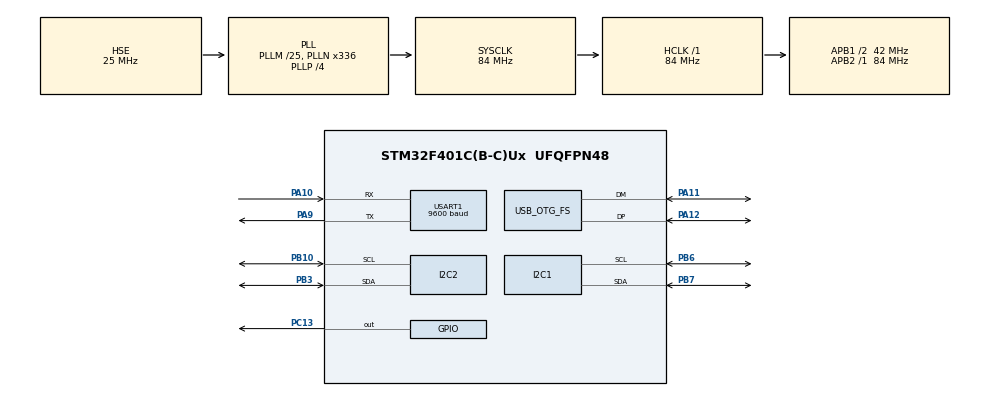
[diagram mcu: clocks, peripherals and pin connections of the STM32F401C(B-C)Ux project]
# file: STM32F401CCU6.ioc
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FREERTOS.Mutexes01=myMutex01,Dynamic,NULL
FREERTOS.Queues01=myQueue01,16,uint32_t,0,Dynamic,NULL,NULL
FREERTOS.Tasks01=defaultTask,0,128,StartDefaultTask,Default,NULL,Dynamic,NULL,NULL
FREERTOS.configUSE_NEWLIB_REENTRANT=1
Mcu.Family=STM32F4
Mcu.Name=STM32F401C(B-C)Ux
Mcu.Package=UFQFPN48
NVIC.I2C1_ER_IRQn=true\:5\:0\:false\:false\:true\:true\:true\:true\:true
NVIC.I2C1_EV_IRQn=true\:5\:0\:false\:false\:true\:true\:true\:true\:true
NVIC.OTG_FS_IRQn=true\:5\:0\:false\:false\:true\:true\:false\:true\:true
NVIC.PriorityGroup=NVIC_PRIORITYGROUP_4
NVIC.TIM5_IRQn=true\:15\:0\:false\:false\:true\:false\:false\:true\:true
NVIC.TimeBase=TIM5_IRQn
NVIC.TimeBaseIP=TIM5
PA10.Mode=Asynchronous
PA10.Signal=USART1_RX
PA11.Mode=Device_Only
PA11.Signal=USB_OTG_FS_DM
PA12.Mode=Device_Only
PA12.Signal=USB_OTG_FS_DP
PA13.Mode=Serial_Wire
PA13.Signal=SYS_JTMS-SWDIO
PA14.Mode=Serial_Wire
PA14.Signal=SYS_JTCK-SWCLK
PA9.Mode=Asynchronous
PA9.Signal=USART1_TX
PB10.Mode=I2C
PB10.Signal=I2C2_SCL
PB3.Mode=I2C
PB3.Signal=I2C2_SDA
PB6.Mode=I2C
PB6.Signal=I2C1_SCL
PB7.Mode=I2C
PB7.Signal=I2C1_SDA
PC13-ANTI_TAMP.Signal=GPIO_Output
PH0\ -\ OSC_IN.Mode=HSE-External-Oscillator
PH0\ -\ OSC_IN.Signal=RCC_OSC_IN
PH1\ -\ OSC_OUT.Mode=HSE-External-Oscillator
PH1\ -\ OSC_OUT.Signal=RCC_OSC_OUT
ProjectManager.HeapSize=0x200
ProjectManager.StackSize=0x400
ProjectManager.TargetToolchain=STM32CubeIDE
RCC.48MHZClocksFreq_Value=48000000
RCC.AHBFreq_Value=84000000
RCC.APB1CLKDivider=RCC_HCLK_DIV2
RCC.APB1Freq_Value=42000000
RCC.APB1TimFreq_Value=84000000
RCC.APB2Freq_Value=84000000
RCC.APB2TimFreq_Value=84000000
RCC.CortexFreq_Value=84000000
RCC.HCLKFreq_Value=84000000
RCC.HSE_VALUE=25000000
RCC.HSI_VALUE=16000000
RCC.LSE_VALUE=32768
RCC.PLLM=25
RCC.PLLN=336
RCC.PLLP=RCC_PLLP_DIV4
RCC.PLLQ=7
RCC.SYSCLKFreq_VALUE=84000000
RCC.SYSCLKSource=RCC_SYSCLKSOURCE_PLLCLK
RCC.VCOOutputFreq_Value=336000000
USART1.BaudRate=9600
USART1.VirtualMode=VM_ASYNC
USB_DEVICE.CLASS_NAME_FS=CDC
USB_DEVICE.PRODUCT_STRING_CDC_FS=STM32 Virtual Port
USB_DEVICE.VirtualMode=Cdc
USB_DEVICE.VirtualModeFS=Cdc_FS
USB_OTG_FS.VirtualMode=Device_Only
VP_FREERTOS_VS_CMSIS_V1.Mode=CMSIS_V1
VP_SYS_VS_tim5.Mode=TIM5
VP_USB_DEVICE_VS_USB_DEVICE_CDC_FS.Mode=CDC_FS
board=custom

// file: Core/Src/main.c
/* USER CODE BEGIN Header */
/**
  ******************************************************************************
  * @file           : main.c
  * @brief          : Main program body
  ******************************************************************************
  * @attention
  *
  * Copyright (c) 2024 STMicroelectronics.
  * All rights reserved.
  *
  * This software is licensed under terms that can be found in the LICENSE file
  * in the root directory of this software component.
  * If no LICENSE file comes with this software, it is provided AS-IS.
  *
  ******************************************************************************
  */
/* USER CODE END Header */
#include "main.h"
#include "cmsis_os.h"
#include "usb_device.h"

/* USER CODE BEGIN Includes */
#include "as5600.h"
#include "usbd_cdc_if.h"
#include "string.h"
#include <stdio.h>
/* USER CODE END Includes */

I2C_HandleTypeDef hi2c1;
I2C_HandleTypeDef hi2c2;

UART_HandleTypeDef huart1;

osThreadId defaultTaskHandle;
osMessageQId myQueue01Handle;
osMutexId myMutex01Handle;
/* USER CODE BEGIN PV */
TaskHandle_t AS1_AboveNormalHandle;
TaskHandle_t AS2_AboveNormalHandle;
QueueHandle_t myQueue02Handle;
/* USER CODE END PV */

void SystemClock_Config(void);
static void MX_GPIO_Init(void);
static void MX_I2C1_Init(void);
static void MX_I2C2_Init(void);
static void MX_USART1_UART_Init(void);
void StartDefaultTask(void const * argument);

/* USER CODE BEGIN PFP */
void AS1_AboveNormalTask(void *parameter);
void AS2_AboveNormalTask(void *parameter);
/* USER CODE END PFP */

/* USER CODE BEGIN 0 */

uint8_t data_rx_1 = 0;
uint16_t angle_1 = 0;

uint8_t data_rx_2 = 0;
uint16_t angle_2 = 0;

uint8_t count = 0;

void send_CDC_number(uint32_t number) {
    // Chuyển số thành một chuỗi ký tự
    char buffer[4]; // �?ảm bảo đủ lớn để chứa chuỗi
    sprintf(buffer, "%d", number);

    // Gửi chuỗi qua USB CDC
    CDC_Transmit_FS((uint8_t*)buffer, strlen(buffer));
}

void send_CDC_text(char *text) {
    // Gửi chuỗi qua USB CDC
    CDC_Transmit_FS((uint8_t*)text, strlen(text));
}

void send_CDC(uint16_t angle_AS1, uint16_t angle_AS2, char *text1, char *text2, uint32_t time_print_data) {
    // Chuyển số thành chuỗi
    char angle_AS1_str[2];  // �?ảm bảo đủ lớn để chứa chuỗi số
    sprintf(angle_AS1_str, "%d", angle_AS1);

    char angle_AS2_str[2];  // �?ảm bảo đủ lớn để chứa chuỗi số
    sprintf(angle_AS2_str, "%d", angle_AS2);

    char time_print_data_str[10];  // �?ảm bảo đủ lớn để chứa chuỗi số
    sprintf(time_print_data_str, "%lu", time_print_data);

    // Tính tổng độ dài của chuỗi số và chuỗi văn bản
    int total_length = strlen(angle_AS1_str) + strlen(angle_AS2_str) + strlen(time_print_data_str) + strlen(text1) + strlen(text2) +2;

    // Tạo một buffer để chứa cả hai chuỗi
    char buffer[total_length + 1];  // +1 cho ký tự kết thúc chuỗi '\0'

//    // Sao chép chuỗi số vào buffer
    strcpy(buffer, time_print_data_str);

    // Nối chuỗi văn bản vào buffer
    strcat(buffer, text1);

    // Nối chuỗi văn bản vào buffer
    strcat(buffer, angle_AS1_str);
    // Nối chuỗi văn bản vào buffer
	strcat(buffer, text2);
	// Nối chuỗi văn bản vào buffer
	strcat(buffer, angle_AS2_str);

//	strcat(buffer, time_print_data_str);

	// Nối chuỗi văn bản vào buffer
	strcat(buffer, "\n");

    // Gửi buffer qua USB CDC
    CDC_Transmit_FS((uint8_t*)buffer, total_length);
}
/* USER CODE END 0 */

int main(void)
{

  /* MCU Configuration--------------------------------------------------------*/

  /* Reset of all peripherals, Initializes the Flash interface and the Systick. */
  HAL_Init();

  /* Configure the system clock */
  SystemClock_Config();

  /* Initialize all configured peripherals */
  MX_GPIO_Init();
  MX_I2C1_Init();
  MX_I2C2_Init();
  MX_USART1_UART_Init();
  /* USER CODE BEGIN 2 */
//AS5600_Init(hi2c1);
//AS5600_Init(hi2c2);
  /* USER CODE END 2 */

  /* Create the mutex(es) */
  /* definition and creation of myMutex01 */
  osMutexDef(myMutex01);
  myMutex01Handle = osMutexCreate(osMutex(myMutex01));

  /* Create the queue(s) */
  /* definition and creation of myQueue01 */
  osMessageQDef(myQueue01, 16, uint32_t);
  myQueue01Handle = osMessageCreate(osMessageQ(myQueue01), NULL);

  /* USER CODE BEGIN RTOS_QUEUES */
  /* add queues, ... */
  myQueue02Handle = xQueueCreate(16, sizeof(uint16_t));

  /* USER CODE END RTOS_QUEUES */

  /* Create the thread(s) */
  /* definition and creation of defaultTask */
  osThreadDef(defaultTask, StartDefaultTask, osPriorityNormal, 0, 128);
  defaultTaskHandle = osThreadCreate(osThread(defaultTask), NULL);

  /* USER CODE BEGIN RTOS_THREADS */
  /* add threads, ... */
  xTaskCreate(AS1_AboveNormalTask, "Task AS5600_1", 128, NULL, osPriorityAboveNormal, &AS1_AboveNormalHandle);
  xTaskCreate(AS2_AboveNormalTask, "Task AS5600_2", 128, NULL, osPriorityAboveNormal, &AS2_AboveNormalHandle);
  /* USER CODE END RTOS_THREADS */

  /* Start scheduler */
  osKernelStart();

  /* We should never get here as control is now taken by the scheduler */
  /* Infinite loop */
  while (1)
  {

    /* USER CODE BEGIN 3 */
//	  if(HAL_GetTick() - time > 1)
//	  {
//		  count ++;
//		  angle_1 	= AS5600_GetAngle(hi2c1);
//		  HAL_Delay(1);
//		  angle_2 	= AS5600_GetAngle(hi2c2);
//		  if(count == 30)
//		  {
//			  send_CDC(angle_1, angle_2, "AS1: " , " AS2: ");
//			  count = 0;
//		  }
//		  time = HAL_GetTick();
//	  }

  }

  /* USER CODE END 3 */
}

void SystemClock_Config(void)
{
  RCC_OscInitTypeDef RCC_OscInitStruct = {0};
  RCC_ClkInitTypeDef RCC_ClkInitStruct = {0};

  /** Configure the main internal regulator output voltage
  */
  __HAL_RCC_PWR_CLK_ENABLE();
  __HAL_PWR_VOLTAGESCALING_CONFIG(PWR_REGULATOR_VOLTAGE_SCALE2);

  /** Initializes the RCC Oscillators according to the specified parameters
  * in the RCC_OscInitTypeDef structure.
  */
  RCC_OscInitStruct.OscillatorType = RCC_OSCILLATORTYPE_HSE;
  RCC_OscInitStruct.HSEState = RCC_HSE_ON;
  RCC_OscInitStruct.PLL.PLLState = RCC_PLL_ON;
  RCC_OscInitStruct.PLL.PLLSource = RCC_PLLSOURCE_HSE;
  RCC_OscInitStruct.PLL.PLLM = 25;
  RCC_OscInitStruct.PLL.PLLN = 336;
  RCC_OscInitStruct.PLL.PLLP = RCC_PLLP_DIV4;
  RCC_OscInitStruct.PLL.PLLQ = 7;
  if (HAL_RCC_OscConfig(&RCC_OscInitStruct) != HAL_OK)
  {
    Error_Handler();
  }

  /** Initializes the CPU, AHB and APB buses clocks
  */
  RCC_ClkInitStruct.ClockType = RCC_CLOCKTYPE_HCLK|RCC_CLOCKTYPE_SYSCLK
                              |RCC_CLOCKTYPE_PCLK1|RCC_CLOCKTYPE_PCLK2;
  RCC_ClkInitStruct.SYSCLKSource = RCC_SYSCLKSOURCE_PLLCLK;
  RCC_ClkInitStruct.AHBCLKDivider = RCC_SYSCLK_DIV1;
  RCC_ClkInitStruct.APB1CLKDivider = RCC_HCLK_DIV2;
  RCC_ClkInitStruct.APB2CLKDivider = RCC_HCLK_DIV1;

  if (HAL_RCC_ClockConfig(&RCC_ClkInitStruct, FLASH_LATENCY_2) != HAL_OK)
  {
    Error_Handler();
  }
}

static void MX_I2C1_Init(void)
{

  hi2c1.Instance = I2C1;
  hi2c1.Init.ClockSpeed = 100000;
  hi2c1.Init.DutyCycle = I2C_DUTYCYCLE_2;
  hi2c1.Init.OwnAddress1 = 0;
  hi2c1.Init.AddressingMode = I2C_ADDRESSINGMODE_7BIT;
  hi2c1.Init.DualAddressMode = I2C_DUALADDRESS_DISABLE;
  hi2c1.Init.OwnAddress2 = 0;
  hi2c1.Init.GeneralCallMode = I2C_GENERALCALL_DISABLE;
  hi2c1.Init.NoStretchMode = I2C_NOSTRETCH_DISABLE;
  if (HAL_I2C_Init(&hi2c1) != HAL_OK)
  {
    Error_Handler();
  }

}

static void MX_I2C2_Init(void)
{

  hi2c2.Instance = I2C2;
  hi2c2.Init.ClockSpeed = 100000;
  hi2c2.Init.DutyCycle = I2C_DUTYCYCLE_2;
  hi2c2.Init.OwnAddress1 = 0;
  hi2c2.Init.AddressingMode = I2C_ADDRESSINGMODE_7BIT;
  hi2c2.Init.DualAddressMode = I2C_DUALADDRESS_DISABLE;
  hi2c2.Init.OwnAddress2 = 0;
  hi2c2.Init.GeneralCallMode = I2C_GENERALCALL_DISABLE;
  hi2c2.Init.NoStretchMode = I2C_NOSTRETCH_DISABLE;
  if (HAL_I2C_Init(&hi2c2) != HAL_OK)
  {
    Error_Handler();
  }

}

static void MX_USART1_UART_Init(void)
{

  huart1.Instance = USART1;
  huart1.Init.BaudRate = 9600;
  huart1.Init.WordLength = UART_WORDLENGTH_8B;
  huart1.Init.StopBits = UART_STOPBITS_1;
  huart1.Init.Parity = UART_PARITY_NONE;
  huart1.Init.Mode = UART_MODE_TX_RX;
  huart1.Init.HwFlowCtl = UART_HWCONTROL_NONE;
  huart1.Init.OverSampling = UART_OVERSAMPLING_16;
  if (HAL_UART_Init(&huart1) != HAL_OK)
  {
    Error_Handler();
  }

}

static void MX_GPIO_Init(void)
{
  GPIO_InitTypeDef GPIO_InitStruct = {0};

  /* GPIO Ports Clock Enable */
  __HAL_RCC_GPIOC_CLK_ENABLE();
  __HAL_RCC_GPIOH_CLK_ENABLE();
  __HAL_RCC_GPIOB_CLK_ENABLE();
  __HAL_RCC_GPIOA_CLK_ENABLE();

  /*Configure GPIO pin Output Level */
  HAL_GPIO_WritePin(GPIOC, GPIO_PIN_13, GPIO_PIN_RESET);

  /*Configure GPIO pin : PC13 */
  GPIO_InitStruct.Pin = GPIO_PIN_13;
  GPIO_InitStruct.Mode = GPIO_MODE_OUTPUT_PP;
  GPIO_InitStruct.Pull = GPIO_NOPULL;
  GPIO_InitStruct.Speed = GPIO_SPEED_FREQ_LOW;
  HAL_GPIO_Init(GPIOC, &GPIO_InitStruct);

}

/* USER CODE BEGIN 4 */
void AS1_AboveNormalTask(void *parameter)
{
	while(1)
	{
		osMutexWait(myMutex01Handle, osWaitForever);
		angle_1 	= AS5600_GetAngle(hi2c1);
		osMessagePut(myQueue01Handle, angle_1, 1);
		osMutexRelease(myMutex01Handle);
		osDelay(1);
	}
}
void AS2_AboveNormalTask(void *parameter)
{
	while(1)
	{
		osMutexWait(myMutex01Handle, osWaitForever);
		angle_2 	= AS5600_GetAngle(hi2c2);
		osMessagePut(myQueue02Handle, angle_2, 1);
		osMutexRelease(myMutex01Handle);
		osDelay(1);
	}
}
/* USER CODE END 4 */

void StartDefaultTask(void const * argument)
{
  /* init code for USB_DEVICE */
  MX_USB_DEVICE_Init();
  /* USER CODE BEGIN 5 */
  MX_USART1_UART_Init();
  osEvent Recv_Task_data_angle_1;
  osEvent Recv_Task_data_angle_2;
  uint32_t time_print_data = 0;
  /* Infinite loop */
  for(;;)
  {
	if(HAL_GetTick() - time_print_data >1)
	{
	  count ++;
	  Recv_Task_data_angle_1 = osMessageGet(myQueue01Handle, osWaitForever);
	  Recv_Task_data_angle_2 = osMessageGet(myQueue02Handle, osWaitForever);
	  if(count == 30)
	  {
		  count = 0;
		  if((Recv_Task_data_angle_1.value.v == 0) || (Recv_Task_data_angle_2.value.v == 0))
		  {
	//				  send_CDC_text("fault +(((((((( \n");

		  }
		  send_CDC(Recv_Task_data_angle_1.value.v, Recv_Task_data_angle_2.value.v, " AS1: ", " AS2: ", time_print_data);
	  }
	  time_print_data = HAL_GetTick();
	}

  }
  /* USER CODE END 5 */
}

void HAL_TIM_PeriodElapsedCallback(TIM_HandleTypeDef *htim)
{
  if (htim->Instance == TIM5) {
    HAL_IncTick();
  }
}

void Error_Handler(void)
{
  __disable_irq();
  while (1)
  {
  }
}
